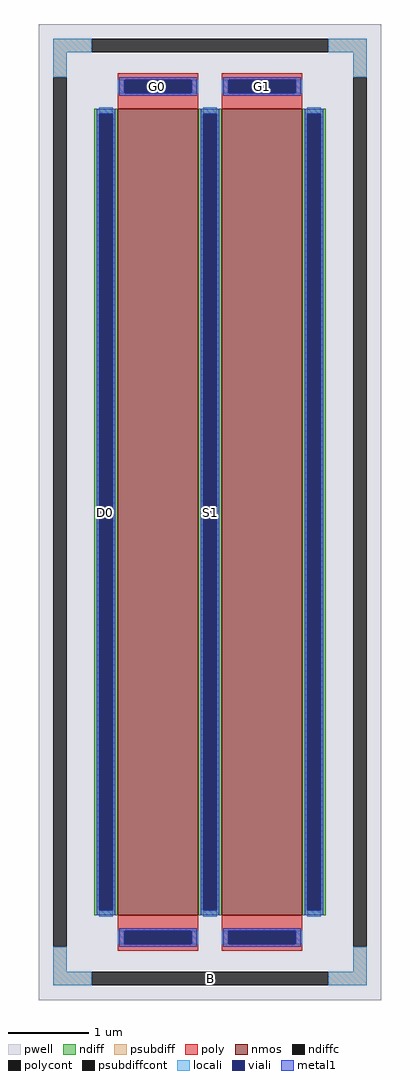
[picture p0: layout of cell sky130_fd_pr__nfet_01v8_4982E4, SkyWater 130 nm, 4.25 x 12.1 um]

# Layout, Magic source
magic
tech sky130A
magscale 1 2
<< pwell >>
rect -425 -1210 425 1210
<< nmos >>
rect -229 -1000 -29 1000
rect 29 -1000 229 1000
<< ndiff >>
rect -287 988 -229 1000
rect -287 -988 -275 988
rect -241 -988 -229 988
rect -287 -1000 -229 -988
rect -29 988 29 1000
rect -29 -988 -17 988
rect 17 -988 29 988
rect -29 -1000 29 -988
rect 229 988 287 1000
rect 229 -988 241 988
rect 275 -988 287 988
rect 229 -1000 287 -988
<< ndiffc >>
rect -275 -988 -241 988
rect -17 -988 17 988
rect 241 -988 275 988
<< psubdiff >>
rect -389 1140 -293 1174
rect 293 1140 389 1174
rect -389 1078 -355 1140
rect 355 1078 389 1140
rect -389 -1140 -355 -1078
rect 355 -1140 389 -1078
rect -389 -1174 -293 -1140
rect 293 -1174 389 -1140
<< psubdiffcont >>
rect -293 1140 293 1174
rect -389 -1078 -355 1078
rect 355 -1078 389 1078
rect -293 -1174 293 -1140
<< poly >>
rect -229 1072 -29 1088
rect -229 1038 -213 1072
rect -45 1038 -29 1072
rect -229 1000 -29 1038
rect 29 1072 229 1088
rect 29 1038 45 1072
rect 213 1038 229 1072
rect 29 1000 229 1038
rect -229 -1038 -29 -1000
rect -229 -1072 -213 -1038
rect -45 -1072 -29 -1038
rect -229 -1088 -29 -1072
rect 29 -1038 229 -1000
rect 29 -1072 45 -1038
rect 213 -1072 229 -1038
rect 29 -1088 229 -1072
<< polycont >>
rect -213 1038 -45 1072
rect 45 1038 213 1072
rect -213 -1072 -45 -1038
rect 45 -1072 213 -1038
<< locali >>
rect -389 1140 -293 1174
rect 293 1140 389 1174
rect -389 1078 -355 1140
rect 355 1078 389 1140
rect -229 1038 -213 1072
rect -45 1038 -29 1072
rect 29 1038 45 1072
rect 213 1038 229 1072
rect -275 988 -241 1004
rect -275 -1004 -241 -988
rect -17 988 17 1004
rect -17 -1004 17 -988
rect 241 988 275 1004
rect 241 -1004 275 -988
rect -229 -1072 -213 -1038
rect -45 -1072 -29 -1038
rect 29 -1072 45 -1038
rect 213 -1072 229 -1038
rect -389 -1140 -355 -1078
rect 355 -1140 389 -1078
rect -389 -1174 -293 -1140
rect 293 -1174 389 -1140
<< viali >>
rect -213 1038 -45 1072
rect 45 1038 213 1072
rect -275 -988 -241 988
rect -17 -988 17 988
rect 241 -988 275 988
rect -213 -1072 -45 -1038
rect 45 -1072 213 -1038
<< metal1 >>
rect -225 1072 -33 1078
rect -225 1038 -213 1072
rect -45 1038 -33 1072
rect -225 1032 -33 1038
rect 33 1072 225 1078
rect 33 1038 45 1072
rect 213 1038 225 1072
rect 33 1032 225 1038
rect -281 988 -235 1000
rect -281 -988 -275 988
rect -241 -988 -235 988
rect -281 -1000 -235 -988
rect -23 988 23 1000
rect -23 -988 -17 988
rect 17 -988 23 988
rect -23 -1000 23 -988
rect 235 988 281 1000
rect 235 -988 241 988
rect 275 -988 281 988
rect 235 -1000 281 -988
rect -225 -1038 -33 -1032
rect -225 -1072 -213 -1038
rect -45 -1072 -33 -1038
rect -225 -1078 -33 -1072
rect 33 -1038 225 -1032
rect 33 -1072 45 -1038
rect 213 -1072 225 -1038
rect 33 -1078 225 -1072
<< labels >>
rlabel psubdiffcont 0 -1157 0 -1157 0 B
port 1 nsew
rlabel ndiffc -258 0 -258 0 0 D0
port 2 nsew
rlabel polycont -129 1055 -129 1055 0 G0
port 3 nsew
rlabel ndiffc 0 0 0 0 0 S1
port 4 nsew
rlabel polycont 129 1055 129 1055 0 G1
port 5 nsew
<< properties >>
string FIXED_BBOX -372 -1157 372 1157
string gencell sky130_fd_pr__nfet_01v8
string library sky130
string parameters w 10 l 1 m 1 nf 2 diffcov 100 polycov 100 guard 1 glc 1 grc 1 gtc 1 gbc 1 tbcov 100 rlcov 100 topc 1 botc 1 poverlap 0 doverlap 1 lmin 0.15 wmin 0.42 class mosfet compatible {sky130_fd_pr__nfet_01v8 sky130_fd_pr__nfet_01v8_lvt  sky130_fd_bs_flash__special_sonosfet_star  sky130_fd_pr__nfet_g5v0d10v5 sky130_fd_pr__nfet_05v0_nvt  sky130_fd_pr__nfet_03v3_nvt} full_metal 1 conn_gates 0 viasrc 100 viadrn 100 viagate 100 viagb 0 viagr 0 viagl 0 viagt 0 doports 1
<< end >>
